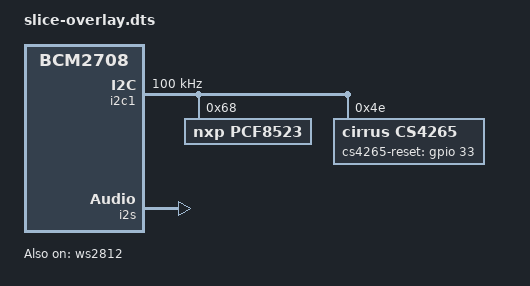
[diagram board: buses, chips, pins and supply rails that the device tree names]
// Definitions for Slice hardware
/dts-v1/;
/plugin/;

#include "dt-bindings/clock/bcm2835.h"

/ {
  compatible = "brcm,bcm2708";

  //
  // Set up GPIOs:
  //  I2C1 on GPIO44,45
  //  LIRC input/output on GPIO4 and 37 (NB GPIO4 NC on Slice)
  //  I2S on GPIO28-31
  //
  fragment@0 {
    target = <&gpio>;
    __overlay__ {
      i2c1_pins: i2c1 {
        brcm,pins = <44 45>;
        brcm,function = <6>; /* alt2 */
      };
      lirc_pins: lirc_pins {
        brcm,pins = <4 37>; // <out in>
        brcm,function = <1 0>; // out in
        brcm,pull = <0 1>; // off down
      };
      i2s_pins: i2s {
        brcm,pins = <28 29 30 31>;
        brcm,function = <6>; /* alt2 */
      };
      ws2812_pins: ws2812 {
        brcm,pins = <40>;
        brcm,function = <4>; /* alt0 */
      };
    };
  };

  //
  // I2C at 100KHz
  //
  fragment@1 {
    target = <&i2c1>;
    __overlay__ {
      pinctrl-names = "default";
      pinctrl-0 = <&i2c1_pins>;
      clock-frequency = <100000>;
    };
  };

  //
  // Add devices to I2C1 Bus:
  //  PCF8523 RTC device
  //  CS4265 Audio CODEC
  //
  fragment@2 {
    target = <&i2c1>;
    __overlay__ {
      #address-cells = <1>;
      #size-cells = <0>;
      status = "okay";
      pcf8523@68 {
        compatible = "nxp,pcf8523";
        reg = <0x68>;
        nxp,xtalcap-7pf; /* set crystal load to 7pf */
        status = "okay";
      };
      cs4265@4e {
        #sound-dai-cells = <0>;
        compatible = "cirrus,cs4265";
        reg = <0x4e>;
        cs4265-reset-gpios = <&gpio 33 0>; /* AUD_RST_N on GPIO33 */
        cirrus,no-s16le; /* remove S16LE support to workaround I2S controller issue */
        status = "okay";
      };
    };
  };

  //
  // LIRC
  //
  fragment@3 {
    target-path = "/";
    __overlay__ {
      lirc_rpi: lirc_rpi {
        compatible = "rpi,lirc-rpi";
        pinctrl-names = "default";
        pinctrl-0 = <&lirc_pins>;
        status = "okay";

        // Override autodetection of IR receiver circuit
        // (0 = active high, 1 = active low, -1 = no override )
        rpi,sense = <0xffffffff>;

        // Software carrier
        // (0 = off, 1 = on)
        rpi,softcarrier = <1>;

        // Invert output
        // (0 = off, 1 = on)
        rpi,invert = <0>;

        // Enable debugging messages
        // (0 = off, 1 = on)
        rpi,debug = <0>;
      };
    };
  };

  //
  // Audio driver
  //
  fragment@4 {
    #address-cells = <1>;
    #size-cells = <1>;
    target = <&sound>;
    __overlay__ {
      compatible = "fiveninjas,slice";
      clocks = <&cprman BCM2835_CLOCK_GP0>;
      clock-names = "gp0";
      pinctrl-names = "default";
      i2s-controller = <&i2s>;
      status = "okay";
    };
  };

  //
  // Enable I2S
  //
  fragment@5 {
    target = <&i2s>;
    __overlay__ {
      pinctrl-names = "default";
      pinctrl-0 = <&i2s_pins>;
      brcm,enable-mmap;
      status = "okay";
    };
  };

  //
  // WS2812B LEDs driver
  //
  fragment@6 {
    target = <&soc>;
    __overlay__ {
      #address-cells = <1>;
      #size-cells = <1>;
      ws2812: ws2812 {
        compatible = "rpi,ws2812";
        pinctrl-names = "default";
        pinctrl-0 = <&ws2812_pins>;
        reg = <0x7e20c000 0x100>; /* PWM */
        dmas = <&dma 5>;
        dma-names = "pwm_dma";
        led-en-gpios = <&gpio 43 0>;
        rpi,invert = <1>;
        rpi,num_leds = <25>;
        status = "okay";
      };
    };
  };

  //
  // Disable standard audio
  //
  fragment@7 {
    target = <&audio>;
    __overlay__ {
      status = "disabled";
    };
  };
};
